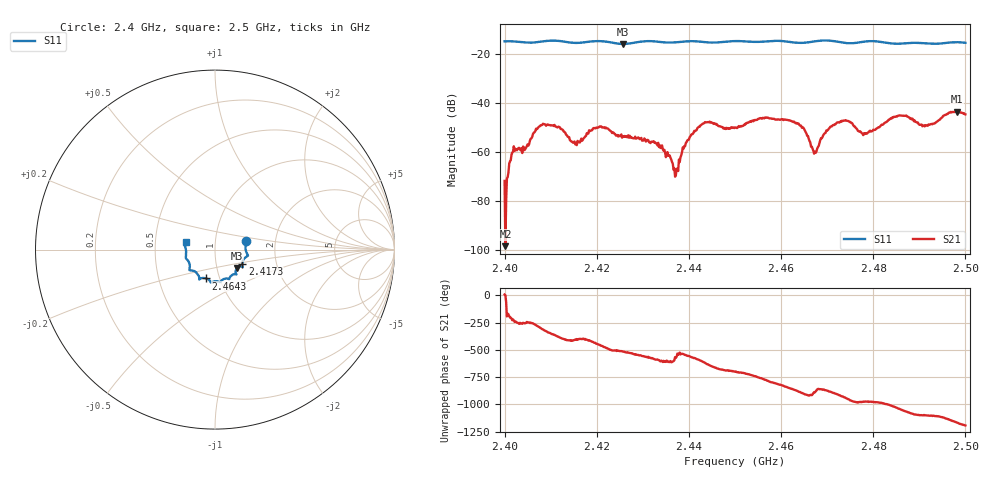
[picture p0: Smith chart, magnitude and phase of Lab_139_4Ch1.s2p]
# Hz S RI R 50
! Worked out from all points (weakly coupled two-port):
!   601 points, 2.4 GHz to 2.5 GHz, reference 50 ohm
!   highest |S21| = -43.48 dB at 2.4982 GHz (marker M1); lowest = -98.4 dB at 2.4002 GHz (marker M2)
!   lowest |S11| = -15.9 dB at 2.4257 GHz (marker M3), VSWR 1.38, Z = 62.4 - j13.1 ohm
!   |S11| at or under -10 dB: start of sweep to end of sweep
!   S12 and S22 are empty: the file has one direction only
!   S11 on the Smith chart (normalised r, x): 2.4 GHz: 1.41, +0.14; 2.4173 GHz: 1.34, -0.23; 2.4643 GHz: 0.86, -0.28; 2.5 GHz: 0.72, +0.06
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2.4e9  0.1738 0.0493  0.000255 3.25e-05  0 0  0 0
2.400167e9  0.1744 0.0489  1.2e-05 5.28e-07  0 0  0 0
2.402e9  0.1753 0.0412  -0.000847 0.000994  0 0  0 0
2.407833e9  0.1771 -0.0197  0.00183 0.00301  0 0  0 0
2.416667e9  0.1527 -0.075  0.00142 -0.00123  0 0  0 0
2.417333e9  0.1521 -0.0823  0.0014 -0.00139  0 0  0 0
2.421e9  0.1544 -0.0964  -0.000692 -0.00325  0 0  0 0
2.425667e9  0.1223 -0.1026  -0.00189 -0.00087  0 0  0 0
2.433333e9  0.1127 -0.1367  -0.000945 0.00122  0 0  0 0
2.437167e9  0.0863 -0.1498  -0.000279 0.000184  0 0  0 0
2.439167e9  0.0807 -0.1602  -0.0013 0.000158  0 0  0 0
2.443e9  0.0696 -0.1617  -0.00137 0.00353  0 0  0 0
2.45e9  0.0294 -0.1809  0.00297 0.00106  0 0  0 0
2.456667e9  -0.0118 -0.1799  0.00289 -0.00406  0 0  0 0
2.464333e9  -0.0503 -0.1605  -0.00342 -0.00048  0 0  0 0
2.466667e9  -0.0763 -0.1596  -0.00124 0.000348  0 0  0 0
2.472667e9  -0.0894 -0.1501  -0.00383 0.00113  0 0  0 0
2.478167e9  -0.1364 -0.1159  -0.000604 0.00224  0 0  0 0
2.483333e9  -0.1404 -0.0894  0.000975 0.00444  0 0  0 0
2.491333e9  -0.1616 -0.032  0.00333 -0.00117  0 0  0 0
2.498167e9  -0.1706 0.0326  0.000401 -0.00669  0 0  0 0
2.5e9  -0.1636 0.0419  -0.00226 -0.0054  0 0  0 0
